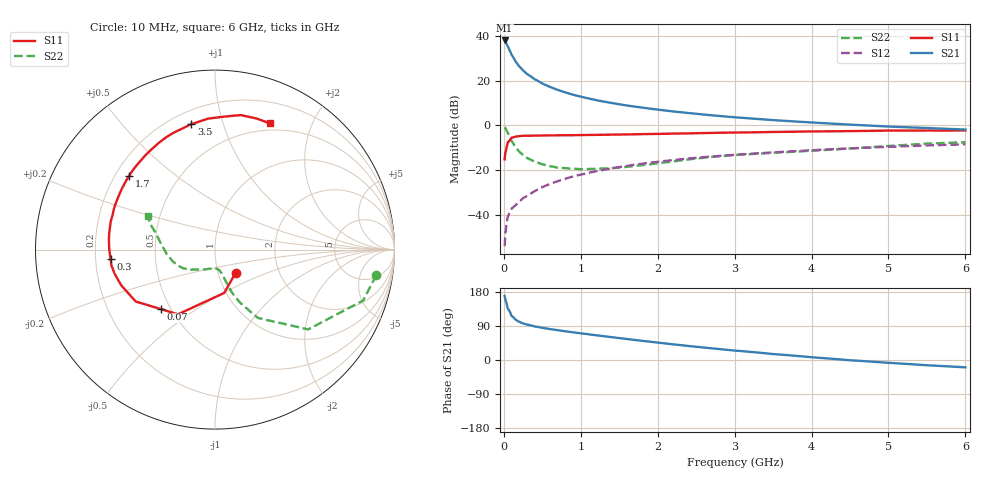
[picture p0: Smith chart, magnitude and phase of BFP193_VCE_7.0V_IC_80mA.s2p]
! Infineon Technologies  Discrete & RF Semiconductors
! BFP193
! VCE =  7.0 V,  IC =  80 mA
! Common Emitter S-Parameters:  Jan 2017
# GHz  S  MA  R  50
!  f  S11  S21  S12  S22
! GHz  MAG  ANG  MAG  ANG  MAG  ANG  MAG  ANG
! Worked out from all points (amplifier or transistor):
!   77 points, 10 MHz to 6 GHz, reference 50 ohm
!   highest |S21| = 37.9 dB at 10 MHz (marker M1)
!   |S21| within 3 dB of that: start of sweep to 56.52 MHz
!   unconditionally stable (mu >= 1): 388.8 MHz to 2.502 GHz
!   at 130 MHz: K = 0.69, MSG = 33.1 dB, |S12| = -36.3 dB
!   at 2.2 GHz: K = 1.02, MAG = 10.1 dB, |S12| = -15.5 dB
!   at 6 GHz: K = 0.92, MSG = 3.3 dB, |S12| = -8.5 dB
!   S11 on the Smith chart (normalised r, x): 10 MHz: 1.21, -0.33; 70 MHz: 0.44, -0.37; 300 MHz: 0.26, -0.04; 1.7 GHz: 0.26, +0.35; 3.5 GHz: 0.28, +0.79; 6 GHz: 0.42, +1.44
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0.01  0.1736 -48.8  78.62 169.1  0.002 77.4  0.91 -9.0
0.02  0.2471 -78.1  75.63 159.4  0.0038 87.8  0.8726 -19.0
0.05  0.4154 -119.8  58.64 136.3  0.0089 61.8  0.6836 -40.6
0.07  0.4478 -132.2  49.75 130.3  0.0108 60.9  0.5841 -45.8
0.1  0.5281 -146.8  38.01 116.4  0.0136 60.1  0.4491 -57.9
0.15  0.5592 -159.2  27 106.7  0.0164 60.6  0.3268 -64.8
0.2  0.574 -166.0  20.76 100.8  0.0195 64.7  0.2592 -68.4
0.25  0.5839 -171.2  16.84 96.5  0.0236 65.1  0.217 -69.8
0.3  0.5844 -174.7  14.11 93.6  0.0264 67.5  0.1872 -71.3
0.4  0.5893 179.8  10.71 88.7  0.0337 69.5  0.1542 -72.9
0.5  0.5932 175.1  8.598 84.9  0.0416 70.7  0.135 -74.7
0.6  0.5967 171.2  7.208 81.6  0.0493 70.8  0.1225 -77.3
0.8  0.6018 164.8  5.432 75.7  0.0644 71.1  0.1103 -81.8
1.1  0.6096 155.8  3.985 67.9  0.0868 68.3  0.1058 -92.7
1.4  0.6193 147.3  3.16 60.3  0.1097 65.2  0.1106 -105.5
1.7  0.6306 139.2  2.623 53.0  0.1322 61.7  0.124 -117.4
2.1  0.6475 128.9  2.142 43.7  0.1605 56.7  0.1488 -131.8
3.1  0.6932 107.9  1.469 23.3  0.2251 43.9  0.2221 -156.2
3.5  0.7112 100.7  1.309 15.7  0.2492 39.5  0.2437 -164.1
4.1  0.7326 91.4  1.132 5.8  0.2829 32.1  0.2768 -177.7
5.1  0.763 77.8  0.925 -8.6  0.3355 20.3  0.3541 162.7
6  0.7669 66.6  0.806 -19.4  0.3772 10.1  0.4193 153.3
